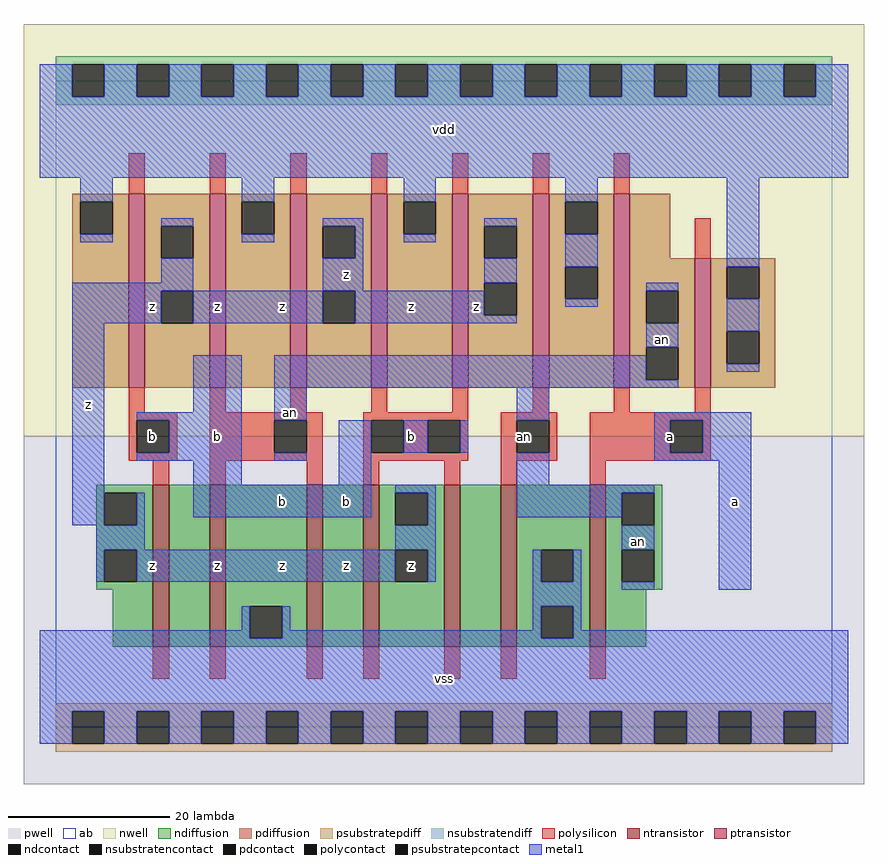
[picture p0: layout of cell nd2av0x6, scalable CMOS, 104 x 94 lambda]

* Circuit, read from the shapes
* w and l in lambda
.subckt nd2av0x6 a an b vdd vss z
M1 n1 b z vss nfet w=20 l=2
M2 vss an n1 vss nfet w=20 l=2
M3 n2 an vss vss nfet w=20 l=2
M4 z b n2 vss nfet w=20 l=2
M5 n3 b z vss nfet w=20 l=2
M6 vss an n3 vss nfet w=20 l=2
M7 an a vss vss nfet w=20 l=2
M8 z b vdd vdd pfet w=24 l=2 m=3
M9 vdd an z vdd pfet w=24 l=2 m=3
M10 an a vdd vdd pfet w=24 l=2
M11 vdd a an vdd pfet w=16 l=2
.ends

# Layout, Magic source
magic
tech scmos
<< ab >>
rect 0 0 96 80
<< pwell >>
rect -4 -7 100 36
<< nwell >>
rect -4 36 100 87
<< polysilicon >>
rect 9 66 11 71
rect 19 66 21 71
rect 29 66 31 71
rect 39 66 41 71
rect 49 66 51 71
rect 59 66 61 71
rect 69 66 71 71
rect 79 58 81 63
rect 9 39 11 42
rect 19 39 21 42
rect 29 39 31 42
rect 39 39 41 42
rect 49 39 51 42
rect 59 39 61 42
rect 69 39 71 42
rect 79 39 81 42
rect 9 38 15 39
rect 9 34 10 38
rect 14 34 15 38
rect 9 33 15 34
rect 19 38 33 39
rect 19 34 27 38
rect 31 34 33 38
rect 19 33 33 34
rect 12 30 14 33
rect 19 30 21 33
rect 31 30 33 33
rect 38 38 51 39
rect 38 34 39 38
rect 43 34 46 38
rect 50 34 51 38
rect 38 33 51 34
rect 55 38 62 39
rect 55 34 57 38
rect 61 34 62 38
rect 55 33 62 34
rect 66 38 81 39
rect 66 34 76 38
rect 80 34 81 38
rect 66 33 81 34
rect 38 30 40 33
rect 48 30 50 33
rect 55 30 57 33
rect 66 30 68 33
rect 12 6 14 10
rect 19 6 21 10
rect 31 6 33 10
rect 38 6 40 10
rect 48 6 50 10
rect 55 6 57 10
rect 66 6 68 10
<< ndiffusion >>
rect 5 29 12 30
rect 5 25 6 29
rect 10 25 12 29
rect 5 22 12 25
rect 5 18 6 22
rect 10 18 12 22
rect 5 17 12 18
rect 7 10 12 17
rect 14 10 19 30
rect 21 15 31 30
rect 21 11 24 15
rect 28 11 31 15
rect 21 10 31 11
rect 33 10 38 30
rect 40 29 48 30
rect 40 25 42 29
rect 46 25 48 29
rect 40 22 48 25
rect 40 18 42 22
rect 46 18 48 22
rect 40 10 48 18
rect 50 10 55 30
rect 57 22 66 30
rect 57 18 60 22
rect 64 18 66 22
rect 57 15 66 18
rect 57 11 60 15
rect 64 11 66 15
rect 57 10 66 11
rect 68 29 75 30
rect 68 25 70 29
rect 74 25 75 29
rect 68 22 75 25
rect 68 18 70 22
rect 74 18 75 22
rect 68 17 75 18
rect 68 10 73 17
<< pdiffusion >>
rect 2 65 9 66
rect 2 61 3 65
rect 7 61 9 65
rect 2 42 9 61
rect 11 62 19 66
rect 11 58 13 62
rect 17 58 19 62
rect 11 54 19 58
rect 11 50 13 54
rect 17 50 19 54
rect 11 42 19 50
rect 21 65 29 66
rect 21 61 23 65
rect 27 61 29 65
rect 21 42 29 61
rect 31 62 39 66
rect 31 58 33 62
rect 37 58 39 62
rect 31 54 39 58
rect 31 50 33 54
rect 37 50 39 54
rect 31 42 39 50
rect 41 65 49 66
rect 41 61 43 65
rect 47 61 49 65
rect 41 42 49 61
rect 51 62 59 66
rect 51 58 53 62
rect 57 58 59 62
rect 51 55 59 58
rect 51 51 53 55
rect 57 51 59 55
rect 51 42 59 51
rect 61 65 69 66
rect 61 61 63 65
rect 67 61 69 65
rect 61 57 69 61
rect 61 53 63 57
rect 67 53 69 57
rect 61 42 69 53
rect 71 58 76 66
rect 71 54 79 58
rect 71 50 73 54
rect 77 50 79 54
rect 71 47 79 50
rect 71 43 73 47
rect 77 43 79 47
rect 71 42 79 43
rect 81 57 89 58
rect 81 53 83 57
rect 87 53 89 57
rect 81 49 89 53
rect 81 45 83 49
rect 87 45 89 49
rect 81 42 89 45
<< metal1 >>
rect -2 78 2 82
rect 6 78 10 82
rect 14 78 18 82
rect 22 78 26 82
rect 30 78 34 82
rect 38 78 42 82
rect 46 78 50 82
rect 54 78 58 82
rect 62 78 66 82
rect 70 78 74 82
rect 78 78 82 82
rect 86 78 90 82
rect 94 78 98 82
rect -2 68 98 78
rect 3 65 7 68
rect 23 65 27 68
rect 3 60 7 61
rect 13 62 17 63
rect 43 65 47 68
rect 23 60 27 61
rect 33 62 38 63
rect 13 55 17 58
rect 2 54 17 55
rect 37 58 38 62
rect 63 65 67 68
rect 43 60 47 61
rect 53 62 57 63
rect 33 54 38 58
rect 53 55 57 58
rect 2 50 13 54
rect 17 50 33 54
rect 37 51 53 54
rect 63 57 67 61
rect 83 57 87 68
rect 63 52 67 53
rect 73 54 77 55
rect 37 50 57 51
rect 2 25 6 50
rect 73 47 77 50
rect 17 39 23 46
rect 10 38 23 39
rect 14 34 23 38
rect 10 33 23 34
rect 27 43 73 46
rect 83 49 87 53
rect 83 44 87 45
rect 27 42 77 43
rect 27 38 31 42
rect 57 38 61 42
rect 27 33 31 34
rect 17 30 23 33
rect 35 30 39 38
rect 43 34 46 38
rect 50 34 51 38
rect 57 30 61 34
rect 74 38 86 39
rect 74 34 76 38
rect 80 34 86 38
rect 74 33 86 34
rect 10 25 11 29
rect 17 26 39 30
rect 42 29 47 30
rect 5 22 11 25
rect 46 25 47 29
rect 57 29 74 30
rect 57 26 70 29
rect 42 22 47 25
rect 70 22 74 25
rect 5 18 6 22
rect 10 18 42 22
rect 46 18 47 22
rect 59 18 60 22
rect 64 18 65 22
rect 59 15 65 18
rect 70 17 74 18
rect 82 17 86 33
rect 23 12 24 15
rect -2 11 24 12
rect 28 12 29 15
rect 59 12 60 15
rect 28 11 60 12
rect 64 12 65 15
rect 64 11 98 12
rect -2 2 98 11
rect -2 -2 2 2
rect 6 -2 10 2
rect 14 -2 18 2
rect 22 -2 26 2
rect 30 -2 34 2
rect 38 -2 42 2
rect 46 -2 50 2
rect 54 -2 58 2
rect 62 -2 66 2
rect 70 -2 74 2
rect 78 -2 82 2
rect 86 -2 90 2
rect 94 -2 98 2
<< ntransistor >>
rect 12 10 14 30
rect 19 10 21 30
rect 31 10 33 30
rect 38 10 40 30
rect 48 10 50 30
rect 55 10 57 30
rect 66 10 68 30
<< ptransistor >>
rect 9 42 11 66
rect 19 42 21 66
rect 29 42 31 66
rect 39 42 41 66
rect 49 42 51 66
rect 59 42 61 66
rect 69 42 71 66
rect 79 42 81 58
<< polycontact >>
rect 10 34 14 38
rect 27 34 31 38
rect 39 34 43 38
rect 46 34 50 38
rect 57 34 61 38
rect 76 34 80 38
<< ndcontact >>
rect 6 25 10 29
rect 6 18 10 22
rect 24 11 28 15
rect 42 25 46 29
rect 42 18 46 22
rect 60 18 64 22
rect 60 11 64 15
rect 70 25 74 29
rect 70 18 74 22
<< pdcontact >>
rect 3 61 7 65
rect 13 58 17 62
rect 13 50 17 54
rect 23 61 27 65
rect 33 58 37 62
rect 33 50 37 54
rect 43 61 47 65
rect 53 58 57 62
rect 53 51 57 55
rect 63 61 67 65
rect 63 53 67 57
rect 73 50 77 54
rect 73 43 77 47
rect 83 53 87 57
rect 83 45 87 49
<< psubstratepcontact >>
rect 2 -2 6 2
rect 10 -2 14 2
rect 18 -2 22 2
rect 26 -2 30 2
rect 34 -2 38 2
rect 42 -2 46 2
rect 50 -2 54 2
rect 58 -2 62 2
rect 66 -2 70 2
rect 74 -2 78 2
rect 82 -2 86 2
rect 90 -2 94 2
<< nsubstratencontact >>
rect 2 78 6 82
rect 10 78 14 82
rect 18 78 22 82
rect 26 78 30 82
rect 34 78 38 82
rect 42 78 46 82
rect 50 78 54 82
rect 58 78 62 82
rect 66 78 70 82
rect 74 78 78 82
rect 82 78 86 82
rect 90 78 94 82
<< psubstratepdiff >>
rect 0 2 96 3
rect 0 -2 2 2
rect 6 -2 10 2
rect 14 -2 18 2
rect 22 -2 26 2
rect 30 -2 34 2
rect 38 -2 42 2
rect 46 -2 50 2
rect 54 -2 58 2
rect 62 -2 66 2
rect 70 -2 74 2
rect 78 -2 82 2
rect 86 -2 90 2
rect 94 -2 96 2
rect 0 -3 96 -2
<< nsubstratendiff >>
rect 0 82 96 83
rect 0 78 2 82
rect 6 78 10 82
rect 14 78 18 82
rect 22 78 26 82
rect 30 78 34 82
rect 38 78 42 82
rect 46 78 50 82
rect 54 78 58 82
rect 62 78 66 82
rect 70 78 74 82
rect 78 78 82 82
rect 86 78 90 82
rect 94 78 96 82
rect 0 77 96 78
<< labels >>
rlabel polycontact 58 36 58 36 6 an
rlabel metal1 12 20 12 20 6 z
rlabel metal1 4 40 4 40 6 z
rlabel polycontact 12 36 12 36 6 b
rlabel metal1 12 52 12 52 6 z
rlabel metal1 20 20 20 20 6 z
rlabel metal1 28 20 28 20 6 z
rlabel metal1 28 28 28 28 6 b
rlabel metal1 29 39 29 39 6 an
rlabel metal1 20 36 20 36 6 b
rlabel metal1 28 52 28 52 6 z
rlabel metal1 20 52 20 52 6 z
rlabel metal1 48 6 48 6 6 vss
rlabel metal1 36 20 36 20 6 z
rlabel metal1 36 28 36 28 6 b
rlabel ndcontact 44 20 44 20 6 z
rlabel metal1 44 36 44 36 6 b
rlabel metal1 44 52 44 52 6 z
rlabel metal1 52 52 52 52 6 z
rlabel metal1 36 56 36 56 6 z
rlabel metal1 48 74 48 74 6 vdd
rlabel metal1 72 23 72 23 6 an
rlabel polycontact 59 36 59 36 6 an
rlabel metal1 76 36 76 36 6 a
rlabel metal1 75 48 75 48 6 an
rlabel metal1 84 28 84 28 6 a
<< end >>
